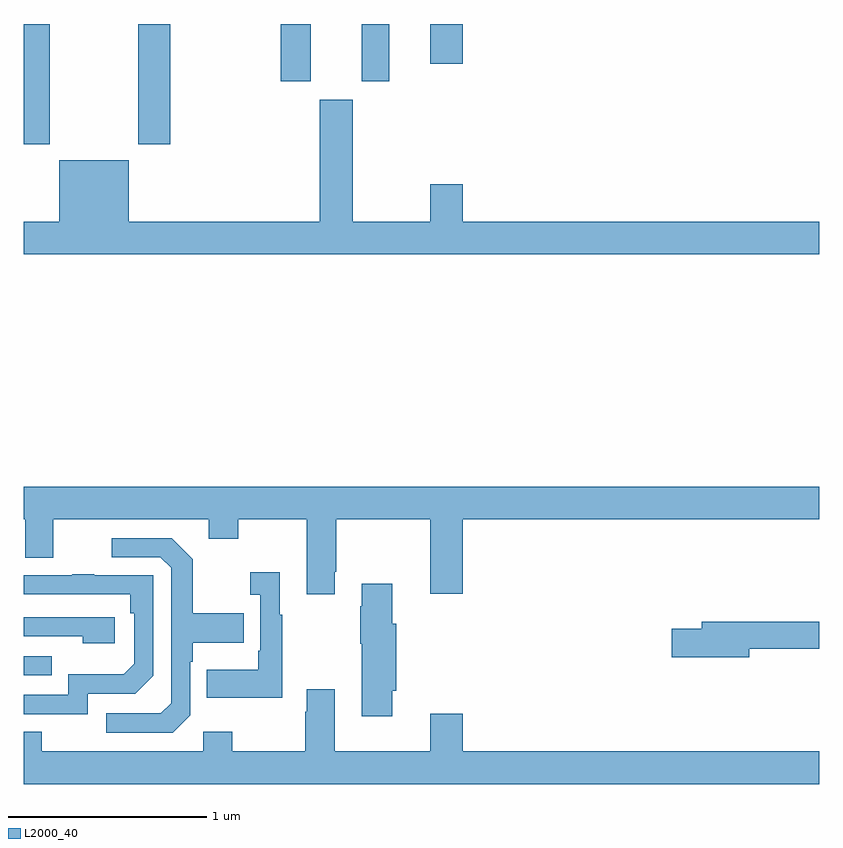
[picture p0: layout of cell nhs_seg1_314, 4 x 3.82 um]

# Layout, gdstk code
import gdstk
lib = gdstk.Library(unit=1e-6, precision=1e-09)
def R(c, l, rs):  # rectangles x0, y0, x1, y1
    for r in rs: c.add(gdstk.rectangle(r[:2], r[2:], *l))
def P(c, l, *ps):  # polygons
    for p in ps: c.add(gdstk.Polygon(p, *l))
L2000_40 = (2000, 40)

nhs_seg1_314 = lib.new_cell('nhs_seg1_314')
R(nhs_seg1_314, L2000_40, [(127,574.923,127.139,575.019), (127,577.593,127.131,578.199), (127.576,577.593,127.736,578.199), (128.291,577.911,128.443,578.199), (128.699,577.911,128.839,578.199), (129.044,577.998,129.208,578.199)])
P(nhs_seg1_314, L2000_40, [(131,577.204),(129.208,577.204),(129.208,577.393),(129.044,577.393),(129.044,577.204),(128.653,577.204),(128.653,577.819),(128.489,577.819),(128.489,577.204),(127.528,577.204),(127.528,577.513),(127.178,577.513),(127.178,577.204),(127,577.204),(127,577.04),(131,577.04)],
  [(128.563,575.443),(128.571,575.443),(128.571,575.708),(129.044,575.708),(129.044,575.334),(129.208,575.334),(129.208,575.708),(131,575.708),(131,575.872),(127,575.872),(127,575.708),(127.007,575.708),(127.007,575.514),(127.147,575.514),(127.147,575.708),(127.931,575.708),(127.931,575.609),(128.079,575.609),(128.079,575.708),(128.423,575.708),(128.423,575.331),(128.563,575.331)],
  [(127.836,574.722),(127.836,574.991),(127.849,574.991),(127.849,575.087),(128.105,575.087),(128.105,575.235),(127.849,575.235),(127.849,575.507),(127.743,575.613),(127.443,575.613),(127.443,575.517),(127.686,575.517),(127.74,575.463),(127.74,574.782),(127.689,574.731),(127.413,574.731),(127.413,574.635),(127.749,574.635)],
  [(128.299,575.227),(128.287,575.227),(128.287,575.44),(128.139,575.44),(128.139,575.327),(128.19,575.327),(128.19,575.047),(128.178,575.047),(128.178,574.951),(127.921,574.951),(127.921,574.811),(128.299,574.811)],
  [(127.32,574.83),(127.56,574.83),(127.65,574.92),(127.65,575.427),(127.355,575.427),(127.355,575.432),(127.243,575.432),(127.243,575.427),(127,575.427),(127,575.331),(127.534,575.331),(127.534,575.234),(127.554,575.234),(127.554,574.98),(127.501,574.927),(127.224,574.927),(127.224,574.824),(127,574.824),(127,574.728),(127.32,574.728)],
  [(128.854,574.845),(128.872,574.845),(128.872,575.181),(128.854,575.181),(128.854,575.383),(128.699,575.383),(128.699,575.27),(128.692,575.27),(128.692,575.081),(128.699,575.081),(128.699,574.716),(128.854,574.716)],
  [(127.456,575.214),(127,575.214),(127,575.118),(127.295,575.118),(127.295,575.084),(127.456,575.084)],
  [(130.648,575.056),(131,575.056),(131,575.192),(130.409,575.192),(130.409,575.156),(130.26,575.156),(130.26,575.014),(130.648,575.014)],
  [(131,574.54),(129.208,574.54),(129.208,574.729),(129.044,574.729),(129.044,574.54),(128.563,574.54),(128.563,574.852),(128.423,574.852),(128.423,574.739),(128.416,574.739),(128.416,574.54),(128.049,574.54),(128.049,574.639),(127.902,574.639),(127.902,574.54),(127.089,574.54),(127.089,574.639),(127,574.639),(127,574.376),(131,574.376)])

lib.write_gds('nhs_seg1_314.gds')
